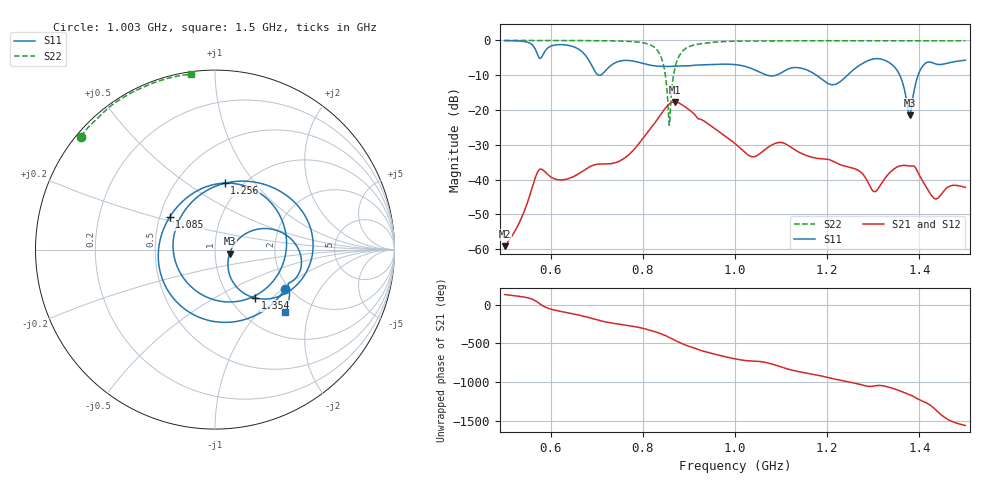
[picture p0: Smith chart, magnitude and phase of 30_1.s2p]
! TOUCHSTONE file generated by CST MICROWAVE STUDIO
! Date and time: Sat Nov 14 20:40:39 2020
! Project name: Scenario_1_Planar_Body_Tissue_Out_of_Line_v2.cst
! Parameters = {dy1=-155.7; L_HA=400; Ltissue=700; MT=2.54; Rad_Dielectric=30; Rad_Lower=7.3; Rad_Upper=30; Wtissue=700; a_HA=580; a_WG=246; b_HA=500; b_WG=121; c_HA=0; c_WG=187; d_feed=85; dx1=173; h_feed=15; h_lower=18; h_upper=40; hfat=3; hgap=25; hmuscle=50; hskin=1.5}
! Header version: 2018
! Port assignment regex: !\s*Touchstone port\s*([0-9]+)\s*=\s*(CST MWS port|CST DS port)\s*([0-9]+|Zmin|Zmax)\s*\(\"(.*)\"\)(\s*mode\s*([0-9]+))?.*
! Touchstone port assignment:
! Touchstone port 1 = CST MWS port 1 ("")
! Touchstone port 2 = CST MWS port 2 ("")
# GHz S DB R 50
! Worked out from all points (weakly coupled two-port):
!   1003 points, 500 MHz to 1.5 GHz, reference 50 ohm
!   highest |S21| = -17.68 dB at 869 MHz (marker M1); lowest = -59.2 dB at 500 MHz (marker M2)
!   lowest |S11| = -21.5 dB at 1.379 GHz (marker M3), VSWR 1.18, Z = 58.8 - j2.67 ohm
!   |S11| at or under -10 dB: 1.07 GHz to 1.089 GHz (19.88 MHz wide, 1.84 % of centre); 1.177 GHz to 1.244 GHz (67.2 MHz wide, 5.55 % of centre); 1.358 GHz to 1.397 GHz (39.79 MHz wide, 2.89 % of centre)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
!   |S22| runs from -24.4 to 0.0 dB; largest |S21 - S12| = 0.00023
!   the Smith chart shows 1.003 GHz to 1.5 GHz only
!   S11 on the Smith chart (normalised r, x): 1.003 GHz: 1.89, -1.05; 1.085 GHz: 0.56, +0.22; 1.256 GHz: 0.83, +0.72; 1.354 GHz: 1.30, -0.80; 1.5 GHz: 1.48, -1.40
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0.5  -0.05 -121.7  -59.17 130.1  -59.17 130.1  -0.01 151.1
0.575  -5.00 -162.3  -37.19 15.5  -37.19 15.5  -0.02 146.0
0.628  -1.24 171.9  -40.06 -95.5  -40.06 -95.5  -0.03 141.9
0.667  -3.13 110.4  -37.81 -143.6  -37.81 -143.6  -0.04 138.4
0.693  -8.17 27.3  -35.86 175.6  -35.87 175.6  -0.06 135.6
0.719  -8.70 -99.1  -35.54 136.5  -35.54 136.5  -0.10 132.4
0.759  -5.76 164.5  -33.94 97.2  -33.94 97.2  -0.21 125.7
0.834  -7.40 21.5  -22.23 -5.6  -22.23 -5.6  -3.32 83.1
0.857  -7.47 -38.2  -18.33 -63.7  -18.33 -63.7  -24.37 -31.0
0.869  -7.41 -72.2  -17.68 -100.5  -17.68 -100.5  -8.29 -153.0
0.905  -7.22 -175.6  -20.42 170.3  -20.42 170.3  -1.53 164.4
0.941  -6.96 94.7  -23.92 101.8  -23.92 101.8  -0.70 151.4
1  -6.95 -24.0  -29.66 18.4  -29.66 18.4  -0.21 140.3
1.003  -6.99 -29.7  -29.99 14.8  -29.99 14.8  -0.21 139.8
1.085  -10.15 144.6  -29.73 -57.4  -29.73 -57.4  -0.15 131.0
1.167  -9.20 -44.9  -33.59 -179.9  -33.59 -179.9  -0.09 124.2
1.256  -8.55 81.6  -36.73 69.1  -36.73 69.1  -0.09 117.4
1.334  -6.31 -26.9  -38.28 11.8  -38.28 11.8  -0.09 111.6
1.354  -9.09 -50.2  -36.27 -27.5  -36.27 -27.5  -0.09 110.0
1.379  -21.50 -15.5  -36.09 -85.6  -36.09 -85.6  -0.09 108.1
1.412  -6.70 1.0  -41.49 178.6  -41.49 178.6  -0.09 105.4
1.5  -5.69 -41.7  -42.26 -123.5  -42.26 -123.5  -0.12 97.9
